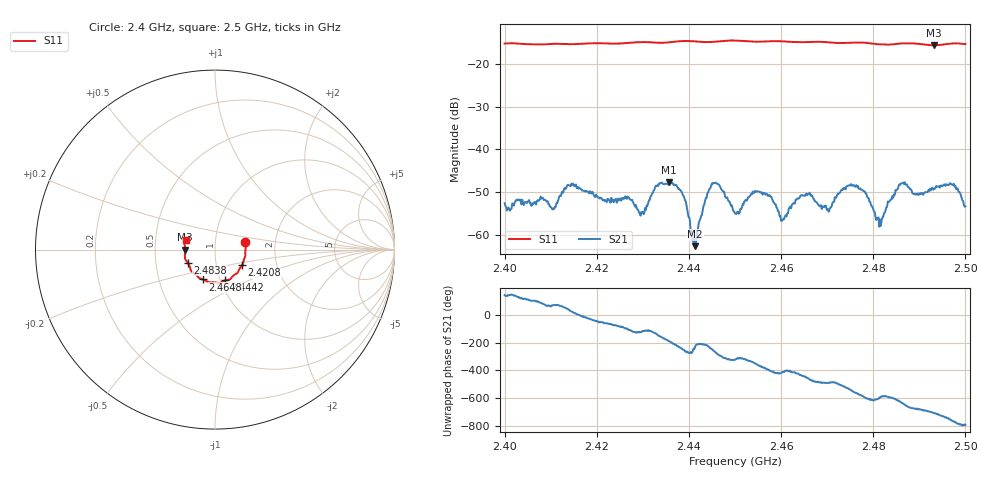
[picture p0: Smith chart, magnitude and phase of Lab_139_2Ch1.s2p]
# Hz S RI R
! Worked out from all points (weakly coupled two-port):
!   601 points, 2.4 GHz to 2.5 GHz, reference 50 ohm
!   highest |S21| = -47.70 dB at 2.4357 GHz (marker M1); lowest = -62.7 dB at 2.4413 GHz (marker M2)
!   lowest |S11| = -15.6 dB at 2.4932 GHz (marker M3), VSWR 1.40, Z = 35.8 - j0.0909 ohm
!   |S11| at or under -10 dB: start of sweep to end of sweep
!   S12 and S22 are empty: the file has one direction only
!   S11 on the Smith chart (normalised r, x): 2.4 GHz: 1.40, +0.12; 2.4208 GHz: 1.33, -0.24; 2.4442 GHz: 1.05, -0.37; 2.4648 GHz: 0.83, -0.28; 2.4838 GHz: 0.73, -0.11; 2.5 GHz: 0.72, +0.08
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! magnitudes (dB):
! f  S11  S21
! 2.4 GHz  -15.2  -52.6
! 2.4167 GHz  -15.3  -49.4
! 2.4208 GHz  -15.2  -51.3
! 2.4298 GHz  -14.9  -55.0
! 2.4333 GHz  -15.0  -48.6
! 2.4357 GHz  -14.9  -47.7
! 2.4388 GHz  -14.6  -51.0
! 2.4413 GHz  -14.7  -62.7
! 2.4442 GHz  -14.9  -50.1
! 2.4462 GHz  -14.7  -48.1
! 2.45 GHz  -14.5  -55.0
! 2.4548 GHz  -14.8  -49.9
! 2.4605 GHz  -14.7  -56.3
! 2.4648 GHz  -14.9  -50.9
! 2.4667 GHz  -14.8  -50.8
! 2.4703 GHz  -14.9  -54.7
! 2.4762 GHz  -15.0  -48.8
! 2.4812 GHz  -15.4  -56.0
! 2.4833 GHz  -15.5  -52.4
! 2.4838 GHz  -15.4  -51.8
! 2.4932 GHz  -15.6  -49.3
! 2.5 GHz  -15.3  -53.4
